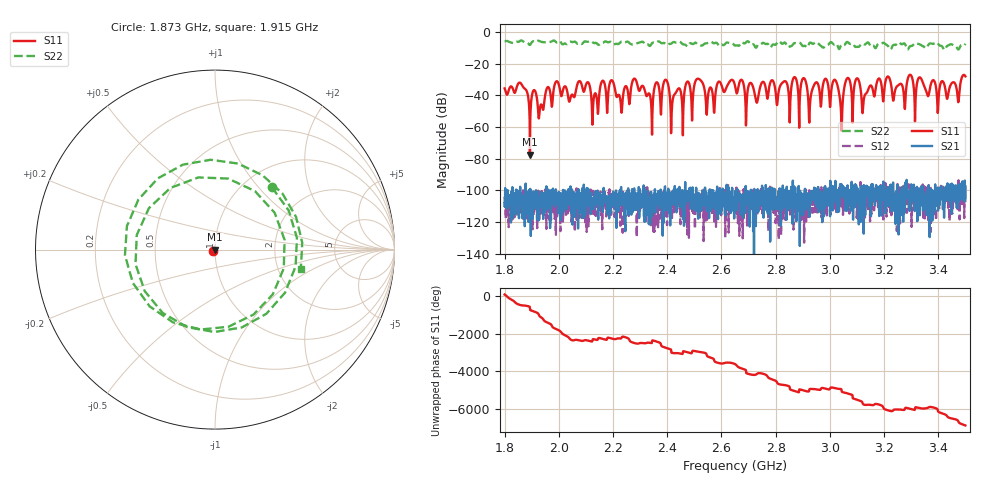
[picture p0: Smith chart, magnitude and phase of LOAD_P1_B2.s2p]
# Hz S RI R 50
! RAW DATA - UNCALIBRATED
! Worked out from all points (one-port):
!   1601 points, 1.8 GHz to 3.5 GHz, reference 50 ohm
!   lowest |S11| = -77.4 dB at 1.893 GHz (marker M1), VSWR 1.00, Z = 50 + j0.0134 ohm
!   |S11| at or under -10 dB: start of sweep to end of sweep
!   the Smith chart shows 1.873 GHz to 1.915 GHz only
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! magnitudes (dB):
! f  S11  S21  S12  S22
! 1.8 GHz  -35.6  -107.9  -104.1  -5.7
! 1.859 GHz  -32.4  -107.0  -104.8  -5.4
! 1.893 GHz  -77.4  -107.7  -114.2  -8.1
! 2.084 GHz  -32.9  -105.4  -105.7  -7.5
! 2.127 GHz  -44.6  -110.7  -115.0  -6.8
! 2.162 GHz  -30.8  -113.9  -105.3  -6.8
! 2.228 GHz  -44.6  -100.9  -103.1  -6.3
! 2.278 GHz  -29.4  -98.8  -102.6  -7.9
! 2.367 GHz  -33.4  -100.5  -110.0  -6.0
! 2.397 GHz  -30.5  -112.6  -106.8  -8.1
! 2.418 GHz  -45.3  -108.2  -109.8  -6.9
! 2.513 GHz  -29.5  -111.9  -115.7  -8.0
! 2.546 GHz  -52.3  -113.2  -109.8  -7.1
! 2.65 GHz  -33.9  -112.3  -113.0  -8.6
! 2.934 GHz  -37.2  -105.0  -106.1  -7.2
! 3.019 GHz  -30.2  -99.8  -107.7  -7.6
! 3.042 GHz  -54.4  -100.3  -110.3  -8.1
! 3.065 GHz  -29.0  -96.9  -112.0  -6.3
! 3.124 GHz  -44.5  -97.1  -112.7  -7.7
! 3.217 GHz  -28.5  -100.8  -110.4  -9.5
! 3.399 GHz  -49.3  -112.9  -109.1  -7.4
! 3.5 GHz  -28.0  -97.6  -107.6  -7.4
